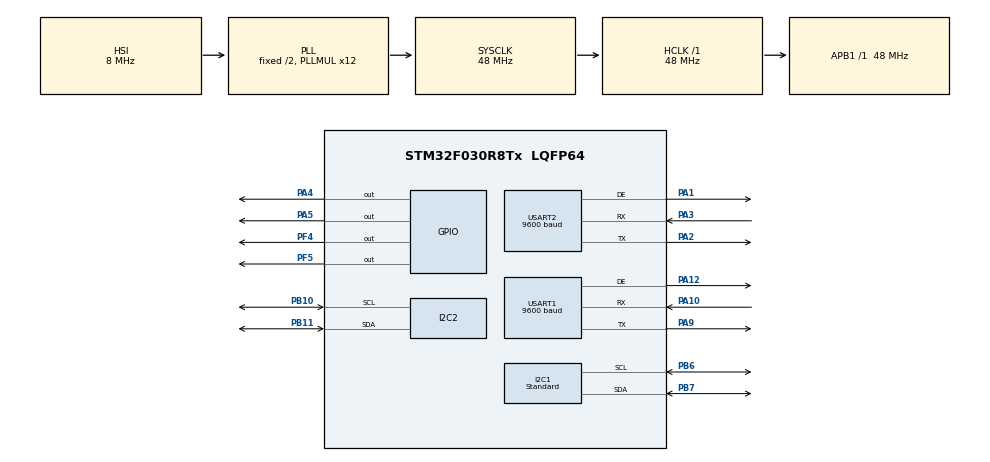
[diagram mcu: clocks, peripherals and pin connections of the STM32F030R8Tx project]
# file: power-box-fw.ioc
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CRC.InputDataInversionMode=CRC_INPUTDATA_INVERSION_NONE
CRC.OutputDataInversionMode=CRC_OUTPUTDATA_INVERSION_DISABLE
Dma.Request0=USART1_RX
Dma.Request1=USART2_RX
Dma.USART1_RX.0.Direction=DMA_PERIPH_TO_MEMORY
Dma.USART1_RX.0.Instance=DMA1_Channel3
Dma.USART1_RX.0.MemDataAlignment=DMA_MDATAALIGN_BYTE
Dma.USART1_RX.0.MemInc=DMA_MINC_ENABLE
Dma.USART1_RX.0.Mode=DMA_NORMAL
Dma.USART1_RX.0.PeriphDataAlignment=DMA_PDATAALIGN_BYTE
Dma.USART1_RX.0.PeriphInc=DMA_PINC_DISABLE
Dma.USART1_RX.0.Priority=DMA_PRIORITY_LOW
Dma.USART2_RX.1.Direction=DMA_PERIPH_TO_MEMORY
Dma.USART2_RX.1.Instance=DMA1_Channel5
Dma.USART2_RX.1.MemDataAlignment=DMA_MDATAALIGN_BYTE
Dma.USART2_RX.1.MemInc=DMA_MINC_ENABLE
Dma.USART2_RX.1.Mode=DMA_NORMAL
Dma.USART2_RX.1.PeriphDataAlignment=DMA_PDATAALIGN_BYTE
Dma.USART2_RX.1.PeriphInc=DMA_PINC_DISABLE
Dma.USART2_RX.1.Priority=DMA_PRIORITY_LOW
I2C1.I2C_Speed_Mode=I2C_Standard
I2C1.Timing=0x2000090E
I2C2.Timing=0x20303E5D
Mcu.Family=STM32F0
Mcu.Name=STM32F030R8Tx
Mcu.Package=LQFP64
NVIC.DMA1_Channel2_3_IRQn=true\:3\:0\:true\:false\:true\:false
NVIC.DMA1_Channel4_5_IRQn=true\:3\:0\:true\:false\:true\:false
NVIC.TIM1_BRK_UP_TRG_COM_IRQn=true\:0\:0\:true\:false\:true\:true
NVIC.TIM3_IRQn=true\:1\:0\:true\:false\:true\:true
NVIC.USART1_IRQn=true\:3\:0\:true\:false\:true\:true
NVIC.USART2_IRQn=true\:3\:0\:true\:false\:true\:true
PA1.Mode=Hardware Flow Control (RS485)
PA1.Signal=USART2_DE
PA10.GPIO_PuPd=GPIO_PULLUP
PA10.Mode=Asynchronous
PA10.Signal=USART1_RX
PA12.Mode=Hardware Flow Control (RS485)
PA12.Signal=USART1_DE
PA13.Mode=Serial_Wire
PA13.Signal=SYS_SWDIO
PA14.Mode=Serial_Wire
PA14.Signal=SYS_SWCLK
PA2.Mode=Asynchronous
PA2.Signal=USART2_TX
PA3.Mode=Asynchronous
PA3.Signal=USART2_RX
PA4.Signal=GPIO_Output
PA5.Signal=GPIO_Output
PA9.Mode=Asynchronous
PA9.Signal=USART1_TX
PB10.Mode=I2C
PB10.Signal=I2C2_SCL
PB11.Mode=I2C
PB11.Signal=I2C2_SDA
PB6.Mode=I2C
PB6.Signal=I2C1_SCL
PB7.Mode=I2C
PB7.Signal=I2C1_SDA
PF4.Signal=GPIO_Output
PF5.Signal=GPIO_Output
ProjectManager.HeapSize=0x200
ProjectManager.StackSize=0x400
ProjectManager.TargetToolchain=Makefile
RCC.AHBFreq_Value=48000000
RCC.APB1Freq_Value=48000000
RCC.APB1TimFreq_Value=48000000
RCC.HCLKFreq_Value=48000000
RCC.PLLMUL=RCC_PLL_MUL12
RCC.SYSCLKFreq_VALUE=48000000
RCC.SYSCLKSource=RCC_SYSCLKSOURCE_PLLCLK
RTC.AsynchPrediv=64
RTC.Format=RTC_FORMAT_BIN
RTC.HourFormat=RTC_HOURFORMAT_24
RTC.StoreOperation=RTC_STOREOPERATION_RESET
RTC.SynchPrediv=625
TIM1.AutoReloadPreload=TIM_AUTORELOAD_PRELOAD_DISABLE
TIM1.CounterMode=TIM_COUNTERMODE_UP
TIM1.Period=3120
TIM1.TIM_MasterOutputTrigger=TIM_TRGO_RESET
TIM3.Period=100
TIM3.Prescaler=4000
USART1.BaudRate=9600
USART1.Parity=PARITY_EVEN
USART1.VirtualMode-Asynchronous=VM_ASYNC
USART1.VirtualMode-Hardware\ Flow\ Control\ (RS485)=VM_ASYNC
USART1.WordLength=WORDLENGTH_9B
USART2.BaudRate=9600
USART2.Parity=PARITY_EVEN
USART2.VirtualMode-Asynchronous=VM_ASYNC
USART2.VirtualMode-Hardware\ Flow\ Control\ (RS485)=VM_ASYNC
USART2.WordLength=WORDLENGTH_9B
VP_CRC_VS_CRC.Mode=CRC_Activate
VP_RTC_VS_RTC_Activate.Mode=RTC_Enabled
VP_RTC_VS_RTC_Calendar.Mode=RTC_Calendar
VP_TIM1_VS_ClockSourceINT.Mode=Internal
VP_TIM3_VS_ClockSourceINT.Mode=Internal
board=custom

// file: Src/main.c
/* USER CODE BEGIN Header */
/**
  ******************************************************************************
  * @file           : main.c
  * @brief          : Main program body
  ******************************************************************************
  ** This notice applies to any and all portions of this file
  * that are not between comment pairs USER CODE BEGIN and
  * USER CODE END. Other portions of this file, whether
  * inserted by the user or by software development tools
  * are owned by their respective copyright owners.
  *
  * COPYRIGHT(c) 2019 STMicroelectronics
  *
  * Redistribution and use in source and binary forms, with or without modification,
  * are permitted provided that the following conditions are met:
  *   1. Redistributions of source code must retain the above copyright notice,
  *      this list of conditions and the following disclaimer.
  *   2. Redistributions in binary form must reproduce the above copyright notice,
  *      this list of conditions and the following disclaimer in the documentation
  *      and/or other materials provided with the distribution.
  *   3. Neither the name of STMicroelectronics nor the names of its contributors
  *      may be used to endorse or promote products derived from this software
  *      without specific prior written permission.
  *
  * THIS SOFTWARE IS PROVIDED BY THE COPYRIGHT HOLDERS AND CONTRIBUTORS "AS IS"
  * AND ANY EXPRESS OR IMPLIED WARRANTIES, INCLUDING, BUT NOT LIMITED TO, THE
  * IMPLIED WARRANTIES OF MERCHANTABILITY AND FITNESS FOR A PARTICULAR PURPOSE ARE
  * DISCLAIMED. IN NO EVENT SHALL THE COPYRIGHT HOLDER OR CONTRIBUTORS BE LIABLE
  * FOR ANY DIRECT, INDIRECT, INCIDENTAL, SPECIAL, EXEMPLARY, OR CONSEQUENTIAL
  * DAMAGES (INCLUDING, BUT NOT LIMITED TO, PROCUREMENT OF SUBSTITUTE GOODS OR
  * SERVICES; LOSS OF USE, DATA, OR PROFITS; OR BUSINESS INTERRUPTION) HOWEVER
  * CAUSED AND ON ANY THEORY OF LIABILITY, WHETHER IN CONTRACT, STRICT LIABILITY,
  * OR TORT (INCLUDING NEGLIGENCE OR OTHERWISE) ARISING IN ANY WAY OUT OF THE USE
  * OF THIS SOFTWARE, EVEN IF ADVISED OF THE POSSIBILITY OF SUCH DAMAGE.
  *
  ******************************************************************************
  */
/* USER CODE END Header */

#include "main.h"
#include "crc.h"
#include "dma.h"
#include "i2c.h"
#include "rtc.h"
#include "tim.h"
#include "usart.h"
#include "gpio.h"

/* USER CODE BEGIN Includes */
#include "printf.h"
#include "command_processor.h"
#include "sensors/sensors.h"

/* USER CODE END Includes */

/* USER CODE BEGIN PV */
uint8_t huart1_dma_rx_buffer[huart1_dma_rx_buffer_SIZE];
uint8_t huart1_dma_rx_buffer_index;
volatile bool huart1_dma_rx_buffer_command;
volatile uint64_t myTick; //Does not enjoy being called a 'long long'.
/* USER CODE END PV */

void SystemClock_Config(void);

int main(void)
{

  /* MCU Configuration--------------------------------------------------------*/

  /* Reset of all peripherals, Initializes the Flash interface and the Systick. */
  HAL_Init();

  /* USER CODE BEGIN Init */
  huart1_dma_rx_buffer_index = 0;
  huart1_dma_rx_buffer_command = false;
  myTick = 0;
  /* USER CODE END Init */

  /* Configure the system clock */
  SystemClock_Config();

  /* Initialize all configured peripherals */
  MX_GPIO_Init();
  MX_DMA_Init();
  MX_I2C1_Init();
  MX_I2C2_Init();
  MX_USART1_UART_Init();
  MX_USART2_UART_Init();
  MX_CRC_Init();
  MX_RTC_Init();
  MX_TIM1_Init();
  MX_TIM3_Init();
  /* USER CODE BEGIN 2 */

  HAL_RTCEx_SetSmoothCalib(&hrtc, RTC_SMOOTHCALIB_PERIOD_8SEC, RTC_SMOOTHCALIB_PLUSPULSES_SET, 0x0);

  /*
    SET     0x0
    SET   0x1ff
    RESET   0x0
    RESET 0x1ff
   */

  __HAL_UART_ENABLE_IT(&huart1, UART_IT_RXNE);
  HAL_UART_Receive_DMA(&huart1, huart1_dma_rx_buffer, huart1_dma_rx_buffer_SIZE);
  HAL_Delay(100);

  HAL_TIM_Base_Start_IT(&htim1);
  HAL_TIM_Base_Start_IT(&htim3);

  printf("Checking I2C address space...\n");
  for (int i = 2; i < 128; i++)
  {
    if (HAL_I2C_IsDeviceReady(&hi2c1, (uint16_t)i<<1, 1, 10 ) == HAL_OK) printf("0x%X\n", i);
  }
  printf("I2C Scan Completed\n");

  // HAL_I2C_Mem_Read(I2C_HandleTypeDef *hi2c, uint16_t DevAddress, uint16_t MemAddress, uint16_t MemAddSize, uint8_t *pData, uint16_t Size, uint32_t Timeout)
  // ret = HAL_I2C_Mem_Read(&hi2c1, 0x40, 0x02, 2, (uint8_t*)data_buffer, 2, 100);
  // printf("Ret: %x\nData Buffer: %2x %2x", ret, data_buffer[0], data_buffer[1]);

  /* USER CODE END 2 */

  /* Infinite loop */
  while (1)
  {

    /* USER CODE BEGIN 3 */
    if (huart1_dma_rx_buffer_command == true)
    {

      HAL_GPIO_WritePin(GPIOF, GPIO_PIN_4, GPIO_PIN_SET);
      huart1_dma_rx_buffer_command = false;
      // HAL_Delay(1);
      // NULL terminate the string.
      // Call command processor
      // printf("'%s'\n",huart1_dma_rx_buffer);
      CMD_PROC_Process_Main((char *)huart1_dma_rx_buffer);
      __HAL_UART_ENABLE_IT(&huart1, UART_IT_RXNE);
      HAL_UART_Receive_DMA(&huart1, huart1_dma_rx_buffer, huart1_dma_rx_buffer_SIZE);
      HAL_GPIO_WritePin(GPIOF, GPIO_PIN_4, GPIO_PIN_RESET);
    }
    // sensor_main();
    // printf("%d\n",TIM3->CNT);
    // HAL_Delay(2000);
  }
  /* USER CODE END 3 */
}

void SystemClock_Config(void)
{
  RCC_OscInitTypeDef RCC_OscInitStruct = {0};
  RCC_ClkInitTypeDef RCC_ClkInitStruct = {0};
  RCC_PeriphCLKInitTypeDef PeriphClkInit = {0};

  /**Initializes the CPU, AHB and APB busses clocks
  */
  RCC_OscInitStruct.OscillatorType = RCC_OSCILLATORTYPE_HSI|RCC_OSCILLATORTYPE_LSI;
  RCC_OscInitStruct.HSIState = RCC_HSI_ON;
  RCC_OscInitStruct.HSICalibrationValue = RCC_HSICALIBRATION_DEFAULT;
  RCC_OscInitStruct.LSIState = RCC_LSI_ON;
  RCC_OscInitStruct.PLL.PLLState = RCC_PLL_ON;
  RCC_OscInitStruct.PLL.PLLSource = RCC_PLLSOURCE_HSI;
  RCC_OscInitStruct.PLL.PLLMUL = RCC_PLL_MUL12;
  RCC_OscInitStruct.PLL.PREDIV = RCC_PREDIV_DIV1;
  if (HAL_RCC_OscConfig(&RCC_OscInitStruct) != HAL_OK)
  {
    Error_Handler();
  }
  /**Initializes the CPU, AHB and APB busses clocks
  */
  RCC_ClkInitStruct.ClockType = RCC_CLOCKTYPE_HCLK|RCC_CLOCKTYPE_SYSCLK
                              |RCC_CLOCKTYPE_PCLK1;
  RCC_ClkInitStruct.SYSCLKSource = RCC_SYSCLKSOURCE_PLLCLK;
  RCC_ClkInitStruct.AHBCLKDivider = RCC_SYSCLK_DIV1;
  RCC_ClkInitStruct.APB1CLKDivider = RCC_HCLK_DIV1;

  if (HAL_RCC_ClockConfig(&RCC_ClkInitStruct, FLASH_LATENCY_1) != HAL_OK)
  {
    Error_Handler();
  }
  PeriphClkInit.PeriphClockSelection = RCC_PERIPHCLK_USART1|RCC_PERIPHCLK_I2C1
                              |RCC_PERIPHCLK_RTC;
  PeriphClkInit.Usart1ClockSelection = RCC_USART1CLKSOURCE_PCLK1;
  PeriphClkInit.I2c1ClockSelection = RCC_I2C1CLKSOURCE_HSI;
  PeriphClkInit.RTCClockSelection = RCC_RTCCLKSOURCE_LSI;
  if (HAL_RCCEx_PeriphCLKConfig(&PeriphClkInit) != HAL_OK)
  {
    Error_Handler();
  }
}

/* USER CODE BEGIN 4 */

/**
  * Used to allow printf() to work.
  */
void _putchar(char character){
  HAL_UART_Transmit(&huart1, (uint8_t *)&character, 1, 0xFFFF);
}

/**
  Included for compeleteness. Not used.
  */
void HAL_UART_RxCpltCallback(UART_HandleTypeDef *huart){
  HAL_UART_Abort(&huart1);
  __HAL_UART_ENABLE_IT(&huart1, UART_IT_RXNE);
  HAL_UART_Receive_DMA(&huart1, huart1_dma_rx_buffer, huart1_dma_rx_buffer_SIZE);
}

/**
  Included for compeleteness. Not used.
  */
void HAL_UART_RxHalfCpltCallback (UART_HandleTypeDef *huart){
}

void HAL_UART_ErrorCallback(UART_HandleTypeDef *huart){
  // Just restart that UART for me, okay?
  HAL_UART_Abort(&huart1);
  __HAL_UART_ENABLE_IT(&huart1, UART_IT_RXNE);
  HAL_UART_Receive_DMA(&huart1, huart1_dma_rx_buffer, huart1_dma_rx_buffer_SIZE);
}

// #pragma GCC push_options
// #pragma GCC optimize ("O0")
void HAL_TIM_PeriodElapsedCallback(TIM_HandleTypeDef *htim)
{
  if (htim->Instance == TIM1)
  {
    if (TIM3->CNT < 1)
    {
      // HAL_GPIO_WritePin(GPIOF, GPIO_PIN_4, GPIO_PIN_SET);
    } else {
      // HAL_GPIO_WritePin(GPIOF, GPIO_PIN_4, GPIO_PIN_RESET);
    }

    if (TIM3->CNT < 25)
    {
      HAL_GPIO_WritePin(GPIOF, GPIO_PIN_5, GPIO_PIN_SET);
    } else {
      HAL_GPIO_WritePin(GPIOF, GPIO_PIN_5, GPIO_PIN_RESET);
    }

    if (TIM3->CNT < 50)
    {
      HAL_GPIO_WritePin(GPIOA, GPIO_PIN_4, GPIO_PIN_SET);
    } else {
      HAL_GPIO_WritePin(GPIOA, GPIO_PIN_4, GPIO_PIN_RESET);
    }

    if (TIM3->CNT < 75)
    {
      HAL_GPIO_WritePin(GPIOA, GPIO_PIN_5, GPIO_PIN_SET);
    } else {
      HAL_GPIO_WritePin(GPIOA, GPIO_PIN_5, GPIO_PIN_RESET);
    }

    // htim->Init.Period = 1000;
    // htim->Instance->ARR += 1;
    // htim->Instance->CNT = 0; // In practice we can use this to advance or delay our count.
    // htim->Instance->CNT = -50;
    // MX_TIM1_Init();
  } else if (htim->Instance == TIM3) {
    TIM1->CNT=0;
    // HAL_GPIO_WritePin(GPIOF, GPIO_PIN_4, GPIO_PIN_SET);
    HAL_GPIO_WritePin(GPIOF, GPIO_PIN_5, GPIO_PIN_SET);
    HAL_GPIO_WritePin(GPIOA, GPIO_PIN_4, GPIO_PIN_SET);
    HAL_GPIO_WritePin(GPIOA, GPIO_PIN_5, GPIO_PIN_SET);
  }

}
// #pragma GCC pop_options
// void HAL_TIM_TriggerCallback(TIM_HandleTypeDef *htim)
// {
//   HAL_GPIO_TogglePin(GPIOF, GPIO_PIN_4);
//   // htim->Init.Period = 10000;
// }
/* USER CODE END 4 */

void Error_Handler(void)
{
}

/************************ (C) COPYRIGHT STMicroelectronics *****END OF FILE****/
